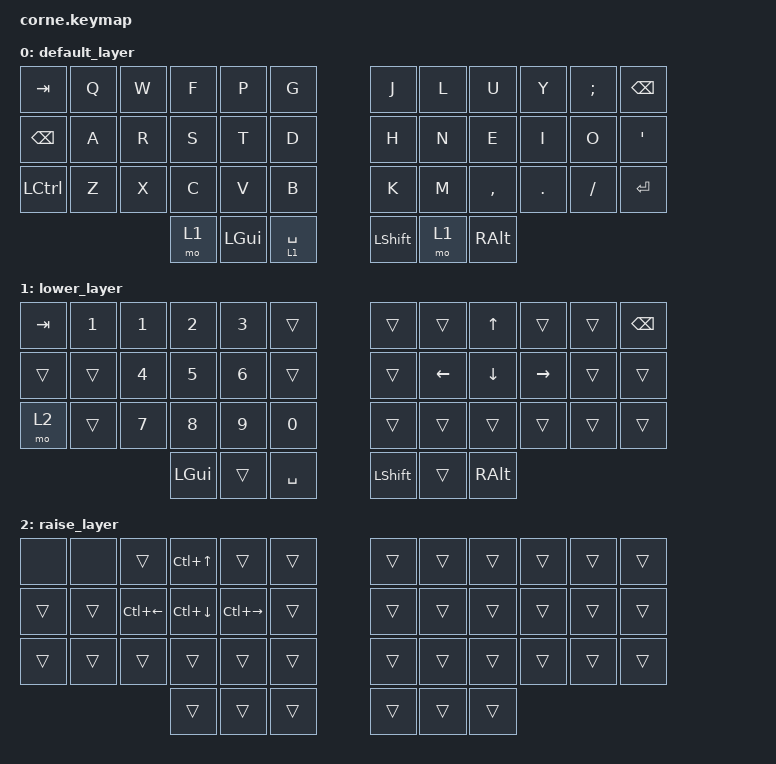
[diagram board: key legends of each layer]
/*
 * Copyright (c) 2020 The ZMK Contributors
 *
 * SPDX-License-Identifier: MIT
 */

#include <behaviors.dtsi>
#include <dt-bindings/zmk/keys.h>
#include <dt-bindings/zmk/bt.h>

/ {
        keymap {
                compatible = "zmk,keymap";

                default_layer {
// -----------------------------------------------------------------------------------------
// |  TAB |  Q  |  W  |  F  |  P  |  G  |   |  J  |  L   |  U  |  Y  |  :  | BKSP |
// | CTRL |  A  |  R  |  S  |  T  |  D  |   |  H  |  N   |  E  |  I  |  O  |  '   |
// | SHFT |  Z  |  X  |  C  |  V  |  B  |   |  N  |  M   |  ,  |  .  |  /  | ESC  |
//                    | GUI | LWR | SPC |   | ENT | RSE  | ALT |
                        bindings = <
   &kp TAB   &kp Q &kp W &kp F &kp P &kp G   &kp J &kp L  &kp U     &kp Y   &kp SEMI &kp BSPC
   &kp BSPC &kp A &kp R &kp S &kp T &kp D   &kp H &kp N  &kp E     &kp I   &kp O    &kp SQT
   &kp LCTRL &kp Z &kp X &kp C &kp V &kp B   &kp K &kp M  &kp COMMA &kp DOT &kp FSLH &kp RET
                  &mo 1 &kp LGUI &lt 1 SPACE   &kp LSHFT &mo 1 &kp RALT
                        >;
                };
                lower_layer {
// -----------------------------------------------------------------------------------------
// |  TAB |  1  |  2  |  3  |  4  |  5  |   |  6  |  7  |  8  |  9  |  0  | BKSP |
// | BTCLR| BT1 | BT2 | BT3 | BT4 | BT5 |   | LFT | DWN |  UP | RGT |     |      |
// | SHFT |     |     |     |     |     |   |     |     |     |     |     |      |
//                    | GUI |     | SPC |   | ENT |     | ALT |
                        bindings = <
   &kp TAB    &kp N1       &kp N1       &kp N2       &kp N3       &trans         &trans         &trans        &kp UP          &trans           &trans         &kp BSPC
   &trans     &trans       &kp N4       &kp N5       &kp N6       &trans         &trans         &kp LEFT      &kp DOWN        &kp RIGHT        &trans         &trans
   &mo 2      &trans       &kp N7       &kp N8       &kp N9       &kp N0         &trans         &trans        &trans          &trans           &trans         &trans
                          	        &kp LGUI     &trans       &kp SPACE      &kp LSHFT      &trans        &kp RALT
                        >;
                };

                raise_layer {
// -----------------------------------------------------------------------------------------
// |  TAB |  !  |  @  |  #  |  $  |  %  |   |  ^  |  &  |  *  |  (  |  )  | BKSP |
// | CTRL |     |     |     |     |     |   |  -  |  =  |  [  |  ]  |  \  |  `   |
// | SHFT |     |     |     |     |     |   |  _  |  +  |  {  |  }  | "|" |  ~   |
//                    | GUI |     | SPC |   | ENT |     | ALT |
                        bindings = <
&none          &none           &trans           &kp LC(UP)     &trans          &trans            &trans        &trans          &trans          &trans          &trans          &trans
&trans         &trans          &kp LC(LEFT)     &kp LC(DOWN)   &kp LC(RIGHT)   &trans            &trans        &trans          &trans          &trans          &trans          &trans
&trans         &trans          &trans           &trans         &trans          &trans            &trans        &trans          &trans          &trans          &trans          &trans
                                                &trans         &trans          &trans            &trans        &trans          &trans     
                        >;
                };
        };
};
